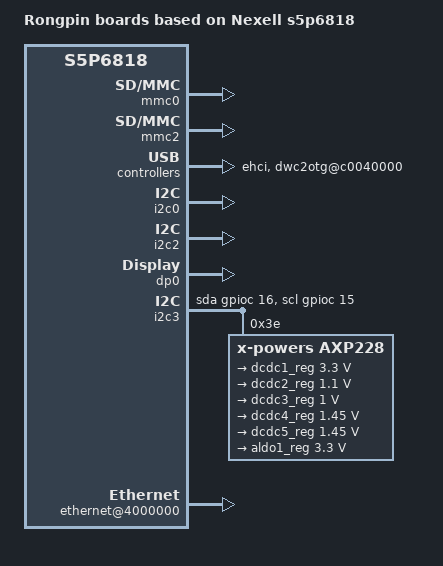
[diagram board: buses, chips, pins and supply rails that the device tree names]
/*
 * (C) Copyright 2017 FriendlyElec Computer Tech. Co., Ltd.
 *
 * Modified for Rongpin RP6818 Board
 *
 * SPDX-License-Identifier:      GPL-2.0+
 */

/dts-v1/;
#include "s5p6818.dtsi"
#include <dt-bindings/gpio/gpio.h>
#include <dt-bindings/interrupt-controller/irq.h>

/ {
	model = "Rongpin boards based on Nexell s5p6818";
	cpu-model = "S5p6818";

	compatible = "rongpin,rp6818", "nexell,s5p6818";

	aliases {
		mmc0 = "/mmc@c0069000";
		mmc1 = "/mmc@c0062000";
		i2c0 = "/i2c@c00a4000";
		i2c2 = "/i2c@c00a6000";
		i2c3 = "/i2c-gpio-3";
	};

	mmc0:mmc@c0062000 {
		frequency = <50000000>;
		nexell,drive_dly = <0x0>;
		nexell,drive_shift = <0x03>;
		nexell,sample_dly = <0x00>;
		nexell,sample_shift = <0x02>;
		status = "okay";
	};

	/* eMMC */
	mmc2:mmc@c0069000 {
		frequency = <50000000>;
		nexell,drive_dly = <0x0>;
		nexell,drive_shift = <0x03>;
		nexell,sample_dly = <0x00>;
		nexell,sample_shift = <0x02>;
		nexell,bus-width = <4>;
		index = <2>;
		status = "okay";
	};

	ehci:usbhost@c0030000 {
		status = "okay";
	};

	dwc2otg@c0040000 {
		status = "okay";
	};

	i2c0:i2c@c00a4000 {
		status ="okay";
		nexell,i2c-sda-delay = <100>;
		nexell,i2c-max-bus-freq = <100000>;
	};

	i2c2:i2c@c00a6000 {
		status ="okay";
		nexell,i2c-sda-delay = <100>;
		nexell,i2c-max-bus-freq = <200000>;
	};

	/* LVDS 屏幕配置 (1024x600) 保留 */
	dp0:dp@c0102800 {
		status = "okay";
		module = <0>;
		lcd-type = "lvds";

		dp-device {
			format = <0>;	/* 0:VESA, 1:JEIDA */
		};

		dp-sync {
			h_active_len = <1024>;
			h_front_porch = <84>;
			h_back_porch = <84>;
			h_sync_width = <88>;
			h_sync_invert = <0>;
			v_active_len = <600>;
			v_front_porch = <10>;
			v_back_porch = <10>;
			v_sync_width = <20>;
			v_sync_invert = <0>;
		};

		dp-ctrl {
			clk_src_lv0 = <3>;
			clk_div_lv0 = <16>;
			clk_src_lv1 = <7>;
			clk_div_lv1 = <1>;
			out_format = <2>;
		};

		dp-planes {
			layer_top {
				screen_width = <1024>;
				screen_height = <600>;
				back_color = <0x0>;
			};

			layer_1 {	/* RGB 1 */
				width = <1024>;
				height = <600>;
				format = <0x06530000>;
				pixel_byte = <4>;
			};
		};
	};

	/* --- 以下为荣品特有硬件，直接定义在根节点下 --- */

	/* 使用 GPIO 模拟 I2C 驱动 AXP228 */
	i2c3: i2c-gpio-3 {
		compatible = "i2c-gpio";
		gpios = <&gpioc 16 (GPIO_ACTIVE_HIGH | GPIO_OPEN_DRAIN)>, /* SDA */
			    <&gpioc 15 (GPIO_ACTIVE_HIGH | GPIO_OPEN_DRAIN)>; /* SCL */
		i2c-gpio,delay-us = <5>; /* 100KHz 速率 */
		#address-cells = <1>;
		#size-cells = <0>;
		status = "okay";
		
		axp228: pmic@3e {
			compatible = "x-powers,axp228";
			reg = <0x3e>;
			
			regulators {
				dcdc1_reg: dcdc1 {
					regulator-name = "vdd_sys_3.3V";
					regulator-min-microvolt = <3300000>;
					regulator-max-microvolt = <3300000>;
					regulator-always-on;
				};
				dcdc2_reg: dcdc2 {
					regulator-name = "vdd_arm_1.1V";
					regulator-min-microvolt = <1100000>;
					regulator-max-microvolt = <1100000>;
					regulator-always-on;
				};
				dcdc3_reg: dcdc3 {
					regulator-name = "vdd_core_1.0V";
					regulator-min-microvolt = <1000000>;
					regulator-max-microvolt = <1000000>;
					regulator-always-on;
				};
				dcdc4_reg: dcdc4 {
					regulator-name = "vdd_sys_1.45V";
					regulator-min-microvolt = <1450000>;
					regulator-max-microvolt = <1450000>;
					regulator-always-on;
				};
				dcdc5_reg: dcdc5 {
					regulator-name = "vdd_ddr_1.45V";
					regulator-min-microvolt = <1450000>;
					regulator-max-microvolt = <1450000>;
					regulator-always-on;
				};
				aldo1_reg: aldo1 {
					regulator-name = "valive_3.3V";
					regulator-min-microvolt = <3300000>;
					regulator-max-microvolt = <3300000>;
					regulator-always-on;
				};
			};
		};
	};

	/* Static Bus CS1 供 DM9000 网卡使用，直接映射物理地址 */
	ethernet@4000000 {
		compatible = "davicom,dm9000";
		reg = <0x04000000 0x2>, <0x04000004 0x2>;
		interrupt-parent = <&gpioc>;
		interrupts = <26 IRQ_TYPE_LEVEL_LOW>;
		davicom,no-eeprom;
	};
};
